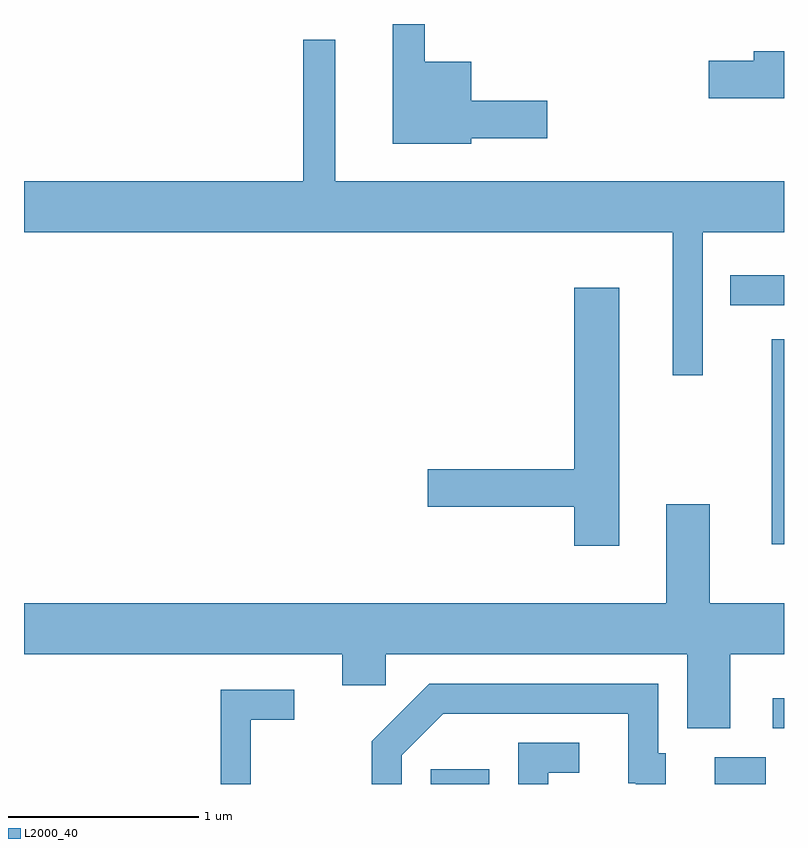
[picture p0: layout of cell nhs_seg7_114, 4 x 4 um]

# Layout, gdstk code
import gdstk
lib = gdstk.Library(unit=1e-6, precision=1e-09)
def R(c, l, rs):  # rectangles x0, y0, x1, y1
    for r in rs: c.add(gdstk.rectangle(r[:2], r[2:], *l))
def P(c, l, *ps):  # polygons
    for p in ps: c.add(gdstk.Polygon(p, *l))
L2000_40 = (2000, 40)

nhs_seg7_114 = lib.new_cell('nhs_seg7_114')
R(nhs_seg7_114, L2000_40, [(189.751,1760.252,190.059,1760.329), (191.246,1760.252,191.514,1760.394), (191.553,1760.546,191.611,1760.704), (191.546,1761.513,191.611,1762.593), (191.328,1762.771,191.611,1762.929)])
P(nhs_seg7_114, L2000_40, [(189.964,1763.651),(190.364,1763.651),(190.364,1763.849),(189.964,1763.849),(189.964,1764.054),(189.719,1764.054),(189.719,1764.252),(189.551,1764.252),(189.551,1763.621),(189.964,1763.621)],
  [(191.184,1763.156),(191.611,1763.156),(191.611,1763.424),(189.249,1763.424),(189.249,1764.168),(189.081,1764.168),(189.081,1763.424),(187.611,1763.424),(187.611,1763.156),(191.026,1763.156),(191.026,1762.403),(191.184,1762.403)],
  [(191.611,1764.109),(191.451,1764.109),(191.451,1764.059),(191.216,1764.059),(191.216,1763.861),(191.611,1763.861)],
  [(190.744,1762.864),(190.506,1762.864),(190.506,1761.909),(189.736,1761.909),(189.736,1761.711),(190.506,1761.711),(190.506,1761.506),(190.744,1761.506)],
  [(191.329,1760.936),(191.611,1760.936),(191.611,1761.204),(191.219,1761.204),(191.219,1761.724),(190.991,1761.724),(190.991,1761.204),(187.611,1761.204),(187.611,1760.936),(189.286,1760.936),(189.286,1760.771),(189.514,1760.771),(189.514,1760.936),(191.101,1760.936),(191.101,1760.546),(191.329,1760.546)],
  [(189.599,1760.404),(189.817,1760.621),(190.791,1760.621),(190.791,1760.256),(190.831,1760.256),(190.831,1760.252),(190.989,1760.252),(190.989,1760.414),(190.949,1760.414),(190.949,1760.779),(189.744,1760.779),(189.441,1760.477),(189.441,1760.252),(189.599,1760.252)],
  [(188.804,1760.591),(189.033,1760.591),(189.033,1760.749),(188.646,1760.749),(188.646,1760.252),(188.804,1760.252)],
  [(190.369,1760.311),(190.533,1760.311),(190.533,1760.469),(190.211,1760.469),(190.211,1760.252),(190.369,1760.252)])

lib.write_gds('nhs_seg7_114.gds')
